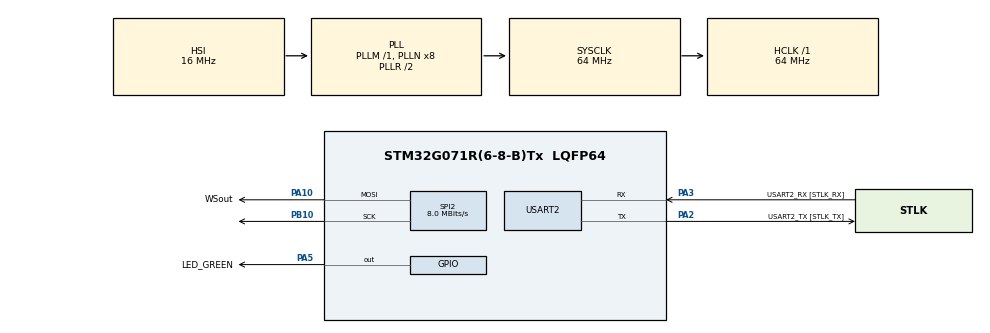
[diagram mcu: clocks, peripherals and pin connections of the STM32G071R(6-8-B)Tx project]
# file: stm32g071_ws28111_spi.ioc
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Dma.Request0=SPI2_TX
Dma.SPI2_TX.0.Direction=DMA_MEMORY_TO_PERIPH
Dma.SPI2_TX.0.EventEnable=DISABLE
Dma.SPI2_TX.0.Instance=DMA1_Channel1
Dma.SPI2_TX.0.MemDataAlignment=DMA_MDATAALIGN_BYTE
Dma.SPI2_TX.0.MemInc=DMA_MINC_ENABLE
Dma.SPI2_TX.0.Mode=DMA_NORMAL
Dma.SPI2_TX.0.PeriphDataAlignment=DMA_PDATAALIGN_BYTE
Dma.SPI2_TX.0.PeriphInc=DMA_PINC_DISABLE
Dma.SPI2_TX.0.Polarity=HAL_DMAMUX_REQ_GEN_RISING
Dma.SPI2_TX.0.Priority=DMA_PRIORITY_VERY_HIGH
Dma.SPI2_TX.0.RequestNumber=1
Dma.SPI2_TX.0.SignalID=NONE
Dma.SPI2_TX.0.SyncEnable=DISABLE
Dma.SPI2_TX.0.SyncPolarity=HAL_DMAMUX_SYNC_NO_EVENT
Dma.SPI2_TX.0.SyncRequestNumber=1
Dma.SPI2_TX.0.SyncSignalID=NONE
Mcu.Family=STM32G0
Mcu.Name=STM32G071R(6-8-B)Tx
Mcu.Package=LQFP64
NVIC.DMA1_Channel1_IRQn=true\:0\:0\:false\:false\:true\:false\:true
PA10.GPIO_Label=WSout
PA10.Mode=TX_Only_Simplex_Unidirect_Master
PA10.Signal=SPI2_MOSI
PA13.GPIO_Label=TMS
PA13.Mode=Serial_Wire
PA13.Signal=SYS_SWDIO
PA14-BOOT0.GPIO_Label=TCK
PA14-BOOT0.Mode=Serial_Wire
PA14-BOOT0.Signal=SYS_SWCLK
PA2.GPIO_Label=USART2_TX [STLK_TX]
PA2.GPIO_PuPd=GPIO_PULLUP
PA2.Mode=Asynchronous
PA2.Signal=USART2_TX
PA3.GPIO_Label=USART2_RX [STLK_RX]
PA3.GPIO_PuPd=GPIO_PULLUP
PA3.Mode=Asynchronous
PA3.Signal=USART2_RX
PA5.GPIO_Label=LED_GREEN
PA5.GPIO_Speed=GPIO_SPEED_FREQ_HIGH
PA5.Signal=GPIO_Output
PB10.Mode=TX_Only_Simplex_Unidirect_Master
PB10.Signal=SPI2_SCK
PC13.Mode=SYS_WakeUp1
PC13.Signal=SYS_WKUP2
PC14-OSC32_IN\ (PC14).Mode=LSE-External-Oscillator
PC14-OSC32_IN\ (PC14).Signal=RCC_OSC32_IN
PC15-OSC32_OUT\ (PC15).Mode=LSE-External-Oscillator
PC15-OSC32_OUT\ (PC15).Signal=RCC_OSC32_OUT
PF0-OSC_IN\ (PF0).GPIO_Label=MCO
PF0-OSC_IN\ (PF0).Mode=HSE-External-Clock-Source
PF0-OSC_IN\ (PF0).Signal=RCC_OSC_IN
ProjectManager.HeapSize=0x200
ProjectManager.StackSize=0x400
ProjectManager.TargetToolchain=STM32CubeIDE
RCC.ADCFreq_Value=64000000
RCC.AHBFreq_Value=64000000
RCC.CortexFreq_Value=64000000
RCC.EXTERNAL_CLOCK_VALUE=12288000
RCC.HCLKFreq_Value=64000000
RCC.HSE_VALUE=8000000
RCC.HSI_VALUE=16000000
RCC.SYSCLKFreq_VALUE=64000000
RCC.SYSCLKSource=RCC_SYSCLKSOURCE_PLLCLK
RCC.VCOOutputFreq_Value=128000000
SPI2.BaudRatePrescaler=SPI_BAUDRATEPRESCALER_8
SPI2.CalculateBaudRate=8.0 MBits/s
SPI2.DataSize=SPI_DATASIZE_8BIT
SPI2.Direction=SPI_DIRECTION_2LINES
SPI2.Mode=SPI_MODE_MASTER
SPI2.VirtualType=VM_MASTER
USART2.VirtualMode-Asynchronous=VM_ASYNC
VP_SYS_VS_DBSignals.Mode=DisableDeadBatterySignals
board=NUCLEO-G071RB

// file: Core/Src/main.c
/* USER CODE BEGIN Header */
/**
  ******************************************************************************
  * @file           : main.c
  * @brief          : Main program body
  ******************************************************************************
  * @attention
  *
  * <h2><center>&copy; Copyright (c) 2021 STMicroelectronics.
  * All rights reserved.</center></h2>
  *
  * This software component is licensed by ST under BSD 3-Clause license,
  * the "License"; You may not use this file except in compliance with the
  * License. You may obtain a copy of the License at:
  *                        opensource.org/licenses/BSD-3-Clause
  *
  ******************************************************************************
  */
/* USER CODE END Header */
#include "main.h"
#include "dma.h"
#include "spi.h"
#include "usart.h"
#include "gpio.h"

/* USER CODE BEGIN Includes */
#include <stdlib.h>
#include "ws2811.h"
#include "ws2811_fx.h"
#include "stm32g0xx_hal_spi.h"
/* USER CODE END Includes */

/* USER CODE BEGIN PTD */
//uint8_t bufferTx[2] = {60,61};
/* USER CODE END PTD */

void SystemClock_Config(void);

int main(void)
{

  /* MCU Configuration--------------------------------------------------------*/

  /* Reset of all peripherals, Initializes the Flash interface and the Systick. */
  HAL_Init();

  /* Configure the system clock */
  SystemClock_Config();

  /* Initialize all configured peripherals */
  MX_GPIO_Init();
  MX_USART2_UART_Init();
  MX_DMA_Init();
  MX_SPI2_Init();
  /* USER CODE BEGIN 2 */
  WS2811_Init(&hspi2);

  WS2811FX_Init(1);	// Start 3 segments

  WS2811FX_SetSpeed(0, 250);	// Speed of segment 0
//  WS2811FX_SetSpeed(1, 2000);	// Speed of segment 1
//  WS2811FX_SetSpeed(2, 500);	// Speed of segment 2
//  WS2811FX_SetColorRGB(0, 32,0,64);	// Set color 0
//  WS2811FX_SetColorRGB(1, 32,0,0);		// Set color 1
//  WS2811FX_SetColorRGB(2, 0,64,0);		// Set color 2
//  WS2811FX_SetMode(0, FX_MODE_WHITE_TO_COLOR);	// Set mode segment 0

//  WS2811FX_SetColorRGB(0, 16,64,0);
//  WS2811FX_SetColorRGB(1, 0,32,64);
//  WS2811FX_SetColorRGB(2, 64,0,0);
//  WS2811FX_SetMode(0, FX_MODE_BLACK_TO_COLOR);	// Set mode segment 1

  WS2811FX_SetColorRGB(0, 16,64,0);
  WS2811FX_SetColorRGB(1, 0,32,64);
  WS2811FX_SetColorRGB(2, 64,0,0);
  WS2811FX_SetMode(0, FX_MODE_COLOR_WIPE); 	// Set mode segment 2

  WS2811FX_Start(0);	// Start segment 0
//  WS2811FX_Start(1);	// Start segment 1
//  WS2811FX_Start(2);	// Start segment 2
  HAL_Delay(200);
 // WS2811_Refresh();
  /* USER CODE END 2 */

  /* Infinite loop */
  /* USER CODE BEGIN WHILE */
  //uint8_t index = 0;
  while (1)
  {
		//HAL_SPI_Transmit_DMA(&hspi2, bufferTx, 2); // Additional 3 for reset signal
		//while(HAL_DMA_STATE_READY != HAL_DMA_GetState(hspi2.hdmatx));

//	  switch (index) {
//	  case 0:
//		  WS2811_SetDiodeColor(2, 0x00000000);
//		  WS2811_SetDiodeColor(0, 0x000000FF);	// Set color 0
//		  index++;
//		  break;
//	  case 1:
//		  WS2811_SetDiodeColor(0, 0x0000FF00);	// Set color 0
//		  index++;
//		  break;
//	  case 2:
//		  WS2811_SetDiodeColor(0, 0x00FF0000);	// Set color 0
//		  index++;
//		  break;
//	  case 3:
//		  WS2811_SetDiodeColor(0, 0x00000000);
//		  WS2811_SetDiodeColor(1, 0x000000FF);	// Set color 0
//		  index++;
//		  break;
//	  case 4:
//		  WS2811_SetDiodeColor(1, 0x0000FF00);	// Set color 0
//		  index++;
//		  break;
//	  case 5:
//		  WS2811_SetDiodeColor(1, 0x00FF0000);	// Set color 0
//		  index++;
//		  break;
//	  case 6:
//		  WS2811_SetDiodeColor(1, 0x00000000);
//		  WS2811_SetDiodeColor(2, 0x000000FF);	// Set color 0
//		  index++;
//		  break;
//	  case 7:
//		  WS2811_SetDiodeColor(2, 0x0000FF00);	// Set color 0
//		  index++;
//		  break;
//	  case 8:
//		  WS2811_SetDiodeColor(2, 0x00FF0000);	// Set color 0
//		  index = 0;
//		  break;
//	  }

//	  WS2811FX_Start(0);	// Start segment 0
	  WS2811FX_Callback();	// FX effects calllback
//	  HAL_GPIO_TogglePin(WSout_GPIO_Port, WSout_Pin);
//	  WS2811_Refresh();
//	  HAL_Delay(200);
    /* USER CODE END WHILE */

  }
}

void SystemClock_Config(void)
{
  RCC_OscInitTypeDef RCC_OscInitStruct = {0};
  RCC_ClkInitTypeDef RCC_ClkInitStruct = {0};
  RCC_PeriphCLKInitTypeDef PeriphClkInit = {0};

  /** Configure the main internal regulator output voltage
  */
  HAL_PWREx_ControlVoltageScaling(PWR_REGULATOR_VOLTAGE_SCALE1);
  /** Initializes the RCC Oscillators according to the specified parameters
  * in the RCC_OscInitTypeDef structure.
  */
  RCC_OscInitStruct.OscillatorType = RCC_OSCILLATORTYPE_HSI;
  RCC_OscInitStruct.HSIState = RCC_HSI_ON;
  RCC_OscInitStruct.HSIDiv = RCC_HSI_DIV1;
  RCC_OscInitStruct.HSICalibrationValue = RCC_HSICALIBRATION_DEFAULT;
  RCC_OscInitStruct.PLL.PLLState = RCC_PLL_ON;
  RCC_OscInitStruct.PLL.PLLSource = RCC_PLLSOURCE_HSI;
  RCC_OscInitStruct.PLL.PLLM = RCC_PLLM_DIV1;
  RCC_OscInitStruct.PLL.PLLN = 8;
  RCC_OscInitStruct.PLL.PLLP = RCC_PLLP_DIV2;
  RCC_OscInitStruct.PLL.PLLQ = RCC_PLLQ_DIV2;
  RCC_OscInitStruct.PLL.PLLR = RCC_PLLR_DIV2;
  if (HAL_RCC_OscConfig(&RCC_OscInitStruct) != HAL_OK)
  {
    Error_Handler();
  }
  /** Initializes the CPU, AHB and APB buses clocks
  */
  RCC_ClkInitStruct.ClockType = RCC_CLOCKTYPE_HCLK|RCC_CLOCKTYPE_SYSCLK
                              |RCC_CLOCKTYPE_PCLK1;
  RCC_ClkInitStruct.SYSCLKSource = RCC_SYSCLKSOURCE_PLLCLK;
  RCC_ClkInitStruct.AHBCLKDivider = RCC_SYSCLK_DIV1;
  RCC_ClkInitStruct.APB1CLKDivider = RCC_HCLK_DIV1;

  if (HAL_RCC_ClockConfig(&RCC_ClkInitStruct, FLASH_LATENCY_2) != HAL_OK)
  {
    Error_Handler();
  }
  /** Initializes the peripherals clocks
  */
  PeriphClkInit.PeriphClockSelection = RCC_PERIPHCLK_USART2;
  PeriphClkInit.Usart2ClockSelection = RCC_USART2CLKSOURCE_PCLK1;
  if (HAL_RCCEx_PeriphCLKConfig(&PeriphClkInit) != HAL_OK)
  {
    Error_Handler();
  }
}

/* USER CODE BEGIN 4 */
void HAL_SYSTICK_Callback(void)
{
	WS2811FX_SysTickCallback();	// FX effects software timers
}
/* USER CODE END 4 */

void Error_Handler(void)
{
  __disable_irq();
  while (1)
  {
  }
}

/************************ (C) COPYRIGHT STMicroelectronics *****END OF FILE****/
